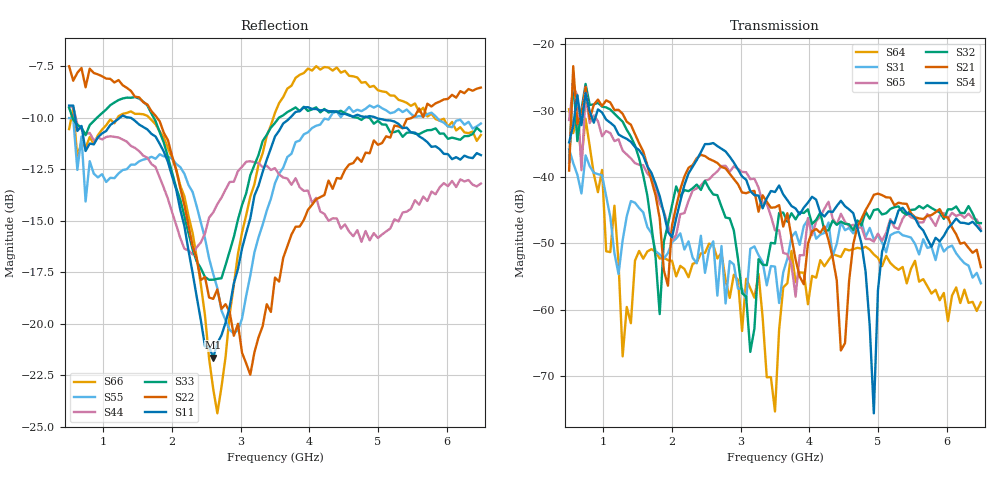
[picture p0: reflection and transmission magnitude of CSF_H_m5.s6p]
!Keysight Technologies,M9804A,MY58100912,A.14.10.03
!Date: Thursday, April 27, 2023 10:28:33
!Correction: S11(C  6-Port  )
!S12(C  6-Port  )
!S13(C  6-Port  )
!S14(C  6-Port  )
!S15(C  6-Port  )
!S16(C  6-Port  )
!S21(C  6-Port  )
!S22(C  6-Port  )
!S23(C  6-Port  )
!S24(C  6-Port  )
!S25(C  6-Port  )
!S26(C  6-Port  )
!S31(C  6-Port  )
!S32(C  6-Port  )
!S33(C  6-Port  )
!S34(C  6-Port  )
!S35(C  6-Port  )
!S36(C  6-Port  )
!S41(C  6-Port  )
!S42(C  6-Port  )
!S43(C  6-Port  )
!S44(C  6-Port  )
!S45(C  6-Port  )
!S46(C  6-Port  )
!S51(C  6-Port  )
!S52(C  6-Port  )
!S53(C  6-Port  )
!S54(C  6-Port  )
!S55(C  6-Port  )
!S56(C  6-Port  )
!S61(C  6-Port  )
!S62(C  6-Port  )
!S63(C  6-Port  )
!S64(C  6-Port  )
!S65(C  6-Port  )
!S66(C  6-Port  )
!S6P File: Measurement: :
# Hz S  RI  R 50
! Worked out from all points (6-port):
!   101 points, 500 MHz to 6.5 GHz, reference 50 ohm
!   strongest paths, dB at 500 MHz, 2 GHz, 3.5 GHz, 5 GHz, 6.5 GHz:
!     S54: -34.8, -49.1, -42.3, -57.1, -48.1
!     S21: -39.0, -47.3, -44.6, -42.5, -53.6
!     S32: -37.9, -44.2, -50.0, -44.8, -47.0
!     S65: -31.4, -49.6, -48.0, -48.5, -47.8
!     S31: -35.8, -49.8, -53.5, -48.8, -56.0
!     S64: -29.8, -52.6, -75.3, -52.2, -58.9
!   lowest |S11| = -21.6 dB at 2.6 GHz (marker M1), VSWR 1.18, Z = 42.6 + j2.02 ohm
!   |S11| at or under -10 dB: 589 MHz to 1.237 GHz (647.9 MHz wide, 71 % of centre); 1.401 GHz to 3.718 GHz (2.317 GHz wide, 90.5 % of centre); 4.975 GHz to end of sweep
